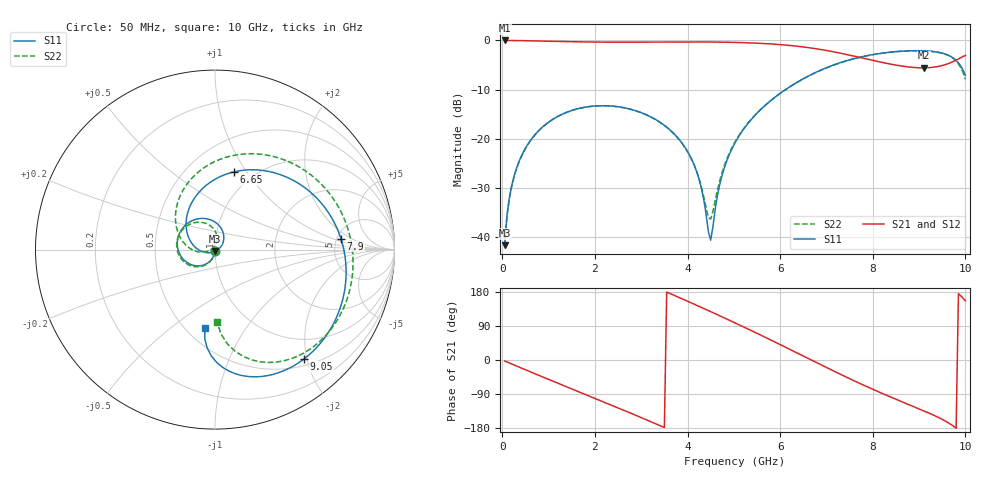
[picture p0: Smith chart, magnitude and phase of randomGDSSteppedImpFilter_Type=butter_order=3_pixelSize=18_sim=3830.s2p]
! freq	dB(S11)	phase(S11)	dB(S12)	phase(S12)
!  dB(S21)	phase(S21)	dB(S22)	phase(S22)
!S-par simulation data
#  GHz  S  DB  R 50
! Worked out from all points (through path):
!   200 points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, 50 MHz to 10 GHz, reference 50 ohm
!   highest |S21| = 0.00 dB at 50 MHz (marker M1); lowest = -5.6 dB at 9.1 GHz (marker M2)
!   group delay of S21, straight-line fit = 154 ps
!   lowest |S11| = -41.6 dB at 50 MHz (marker M3), VSWR 1.02, Z = 50 - j0.827 ohm
!   |S11| at or under -10 dB: start of sweep to 6.112 GHz
!   |S22| runs from -41.8 to -2.1 dB; largest |S21 - S12| = 0
!   S11 on the Smith chart (normalised r, x): 50 MHz: 1.00, -0.02; 6.65 GHz: 0.81, +0.87; 7.9 GHz: 5.44, +1.31; 9.05 GHz: 0.61, -1.95; 10 GHz: 0.62, -0.67
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0.05  -41.63 -92.3  -0.00 -2.6  -0.00 -2.6  -41.78 -92.0
0.2  -29.63 -100.7  -0.01 -10.4  -0.01 -10.4  -29.77 -99.8
0.5  -21.89 -116.9  -0.05 -25.8  -0.05 -25.8  -21.97 -115.0
1.15  -15.68 -151.4  -0.19 -58.8  -0.19 -58.8  -15.69 -147.4
1.75  -13.62 177.2  -0.30 -88.8  -0.30 -88.8  -13.63 -176.5
2.5  -13.47 137.5  -0.35 -126.4  -0.35 -126.4  -13.48 148.1
3.4  -16.57 87.1  -0.32 -172.8  -0.32 -172.8  -16.60 106.2
4.1  -24.37 41.8  -0.29 149.7  -0.29 149.7  -24.38 79.8
4.3  -30.04 21.8  -0.30 138.7  -0.30 138.7  -29.77 82.8
4.5  -40.58 -70.4  -0.31 127.6  -0.31 127.6  -36.29 144.3
4.7  -29.06 -150.2  -0.34 116.4  -0.34 116.4  -28.31 -168.7
5.05  -20.37 178.9  -0.40 96.6  -0.40 96.6  -20.21 -173.1
5.95  -11.09 119.9  -0.81 43.8  -0.81 43.8  -11.10 142.3
6.65  -7.03 76.4  -1.51 1.4  -1.51 1.4  -7.08 102.0
6.7  -6.79 73.4  -1.58 -1.7  -1.58 -1.7  -6.84 99.0
7.3  -4.50 37.9  -2.58 -37.6  -2.58 -37.6  -4.54 63.4
7.9  -3.04 4.9  -3.83 -71.8  -3.83 -71.8  -3.07 29.1
8.35  -2.41 -17.8  -4.75 -95.8  -4.75 -95.8  -2.42 4.9
9.05  -2.10 -50.8  -5.56 -131.4  -5.56 -131.4  -2.09 -30.8
9.1  -2.11 -53.1  -5.56 -134.0  -5.56 -134.0  -2.11 -33.4
9.65  -3.08 -80.7  -4.63 -167.2  -4.63 -167.2  -3.14 -64.5
10  -7.11 -97.4  -3.06 156.1  -3.06 156.1  -7.86 -88.3
